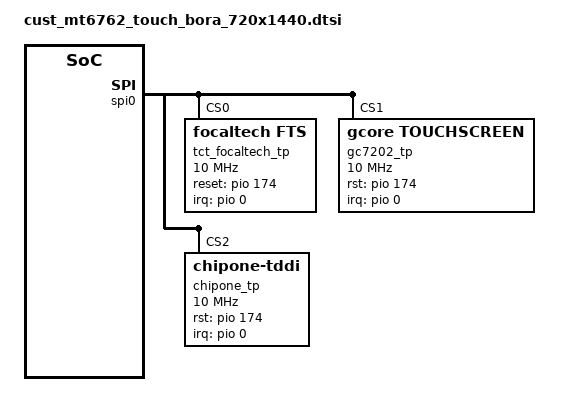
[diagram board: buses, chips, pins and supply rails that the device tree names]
/*
 * Copyright (C) 2010 - 2018 Novatek, Inc.
 *
 * $Revision: 52935 $
 * $Date: 2019-11-11 10:24:25 +0800 (Mon, 11 Nov 2019) $
 *
 * This program is free software; you can redistribute it and/or modify
 * it under the terms of the GNU General Public License as published by
 * the Free Software Foundation; either version 2 of the License, or
 * (at your option) any later version.
 *
 * This program is distributed in the hope that it will be useful, but WITHOUT
 * ANY WARRANTY; without even the implied warranty of MERCHANTABILITY or
 * FITNESS FOR A PARTICULAR PURPOSE.  See the GNU General Public License for
 * more details.
 *
 */

/*begin add by wenhao.deng for task 11388151 on 20210729*/

/* TOUCH start */
&spi0 {
        #address-cells = <1>;
        #size-cells = <0>;
		mediatek,pad-select = <0>, <1>, <2>; 
        status = "okay";
		tct_focaltech_tp@0 {
			compatible = "focaltech,fts";
			reg = <0>;
			spi-max-frequency = <10000000>;
			interrupt-parent = <&pio>;
			interrupts = <0 0x2008>;

			/* ft8006s special */
			focaltech,reset-gpio = <&pio 174 0x00>;
			focaltech,irq-gpio = <&pio 0 0x00>;
			focaltech,max-touch-number = <5>;
			focaltech,display-coords =  <0 0 720 1440>;
         };


		gc7202_tp@1 {
			status = "okay";
			compatible = "gcore,touchscreen";
			reg = <1>;
			spi-max-frequency = <10000000>;
			gcore,rst-gpio = <&pio 174 0x00>;
			gcore,irq-gpio = <&pio 0 0x00>;
		};

		chipone_tp@2 {
			status = "okay";
			compatible = "chipone-tddi";
			reg = <2>;
			spi-max-frequency = <10000000>;
			chipone,rst-gpio = <&pio 174 0x00>;
			chipone,irq-gpio = <&pio 0 0x00>;
			chipone,x-res = <720>;
			chipone,y-res = <1440>;
		/*selftest settings start*/
			chipone,test-reset-pin;
			chipone,test-rawdata;
			chipone,test-rawdata-frames = <1>;
			chipone,rawdata-min = <1521>;
			chipone,rawdata-max = <3591>;
			chipone,test-noise;
			chipone,test-noise-frames = <50>;
			chipone,noise-max = <76>;
			chipone,test-open;
			chipone,open-min = <3465>;
			chipone,test-short;
			chipone,short-min = <500>;
			chipone,test-compensate-cap;
			chipone,compensate-cap-min = <1>;
			chipone,compensate-cap-max = <126>;
		/*selftest settings end*/
		};
};

/* TOUCH end */




